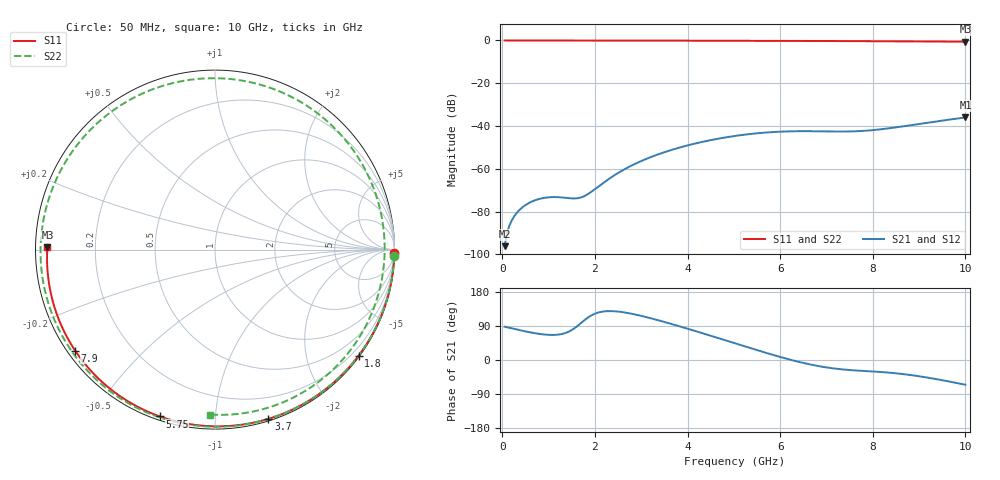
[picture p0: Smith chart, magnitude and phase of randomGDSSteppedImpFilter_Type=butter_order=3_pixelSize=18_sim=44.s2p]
! freq	dB(S11)	phase(S11)	dB(S12)	phase(S12)
!  dB(S21)	phase(S21)	dB(S22)	phase(S22)
!S-par simulation data
#  GHz  S  DB  R 50
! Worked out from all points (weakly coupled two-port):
!   200 points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, 50 MHz to 10 GHz, reference 50 ohm
!   highest |S21| = -36.01 dB at 10 GHz (marker M1); lowest = -96.2 dB at 50 MHz (marker M2)
!   lowest |S11| = -0.6 dB at 10 GHz (marker M3), VSWR 29.28, Z = 1.71 + j0.379 ohm
!   |S11| at or under -10 dB: nowhere
!   |S22| runs from -0.7 to 0.0 dB; largest |S21 - S12| = 0
!   S11 on the Smith chart (normalised r, x): 50 MHz: open; 1.8 GHz: 0.03, -3.04; 3.7 GHz: 0.02, -1.36; 5.75 GHz: 0.02, -0.72; 7.9 GHz: 0.02, -0.32; 10 GHz: 0.03, +0.01
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0.05  -0.01 -1.0  -96.21 87.8  -96.21 87.8  -0.01 -2.1
0.35  -0.01 -7.2  -79.73 79.6  -79.73 79.6  -0.02 -14.6
0.6  -0.01 -12.3  -75.75 73.1  -75.75 73.1  -0.03 -24.9
0.9  -0.02 -18.4  -73.64 67.3  -73.64 67.3  -0.04 -37.3
1.35  -0.03 -27.5  -73.56 70.8  -73.56 70.8  -0.07 -55.6
1.75  -0.05 -35.4  -73.01 102.6  -73.01 102.6  -0.09 -71.6
1.8  -0.05 -36.4  -72.48 107.5  -72.48 107.5  -0.09 -73.6
2.2  -0.06 -44.2  -66.32 128.3  -66.32 128.3  -0.11 -89.6
2.6  -0.07 -51.9  -60.71 126.2  -60.71 126.2  -0.13 -105.4
3.4  -0.09 -67.0  -53.01 103.8  -53.01 103.8  -0.18 -137.5
3.7  -0.10 -72.5  -50.90 93.4  -50.90 93.4  -0.20 -149.9
4.4  -0.12 -85.1  -47.06 67.7  -47.06 67.7  -0.25 179.8
5.05  -0.15 -96.4  -44.58 43.1  -44.58 43.1  -0.30 149.1
5.75  -0.18 -108.4  -42.98 16.9  -42.98 16.9  -0.37 112.4
6.25  -0.21 -116.7  -42.49 -0.2  -42.49 -0.2  -0.41 84.2
6.7  -0.24 -124.2  -42.45 -13.0  -42.45 -13.0  -0.44 58.1
7.3  -0.29 -134.2  -42.60 -24.3  -42.60 -24.3  -0.47 24.0
7.9  -0.34 -144.1  -42.13 -29.5  -42.13 -29.5  -0.50 -7.7
8.35  -0.39 -151.7  -41.09 -33.3  -41.09 -33.3  -0.53 -29.1
8.75  -0.43 -158.5  -39.87 -38.6  -39.87 -38.6  -0.56 -46.4
9.15  -0.48 -165.5  -38.58 -45.8  -38.58 -45.8  -0.61 -62.2
10  -0.59 179.1  -36.01 -65.3  -36.01 -65.3  -0.73 -91.6
